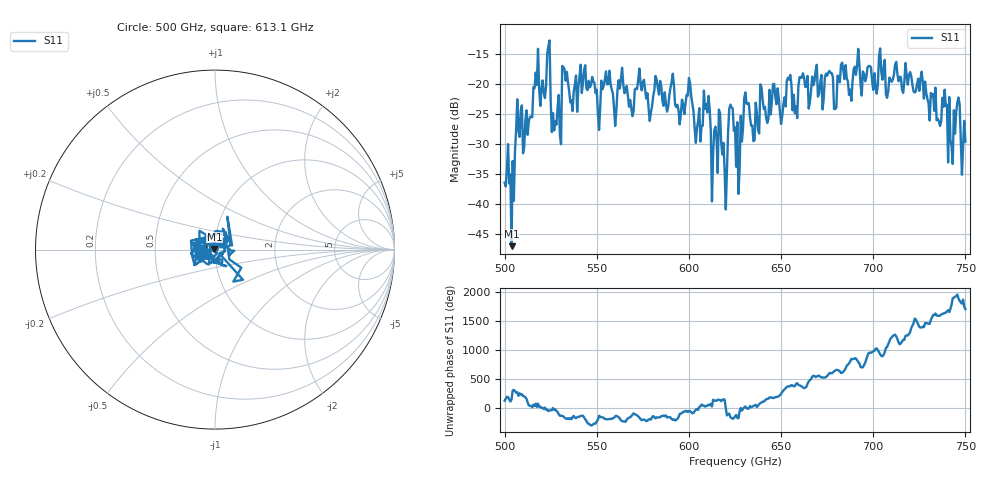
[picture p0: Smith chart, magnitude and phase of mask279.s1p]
!Created with skrf (http://scikit-rf.org).
# GHz S MA R 50.0
!freq magS11 angS11
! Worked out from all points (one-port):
!   401 points, 500 GHz to 750 GHz, reference 50 ohm
!   lowest |S11| = -47.0 dB at 503.8 GHz (marker M1), VSWR 1.01, Z = 49.7 + j0.292 ohm
!   |S11| at or under -10 dB: start of sweep to end of sweep
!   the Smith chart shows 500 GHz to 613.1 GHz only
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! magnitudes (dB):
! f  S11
! 500 GHz  -36.4
! 503.8 GHz  -47.0
! 507.5 GHz  -27.7
! 513.8 GHz  -25.5
! 516.9 GHz  -18.1
! 523.8 GHz  -13.7
! 526.9 GHz  -27.8
! 531.2 GHz  -17.0
! 532.5 GHz  -17.5
! 550.6 GHz  -25.0
! 562.5 GHz  -20.8
! 593.8 GHz  -23.5
! 600 GHz  -19.0
! 605 GHz  -26.2
! 609.4 GHz  -23.3
! 613.1 GHz  -31.6
! 617.5 GHz  -29.8
! 619.4 GHz  -34.5
! 622.5 GHz  -23.4
! 625 GHz  -27.2
! 626.2 GHz  -26.4
! 631.2 GHz  -23.3
! 634.4 GHz  -26.9
! 656.2 GHz  -24.4
! 687.5 GHz  -21.0
! 691.2 GHz  -16.9
! 718.8 GHz  -20.1
! 750 GHz  -29.6
